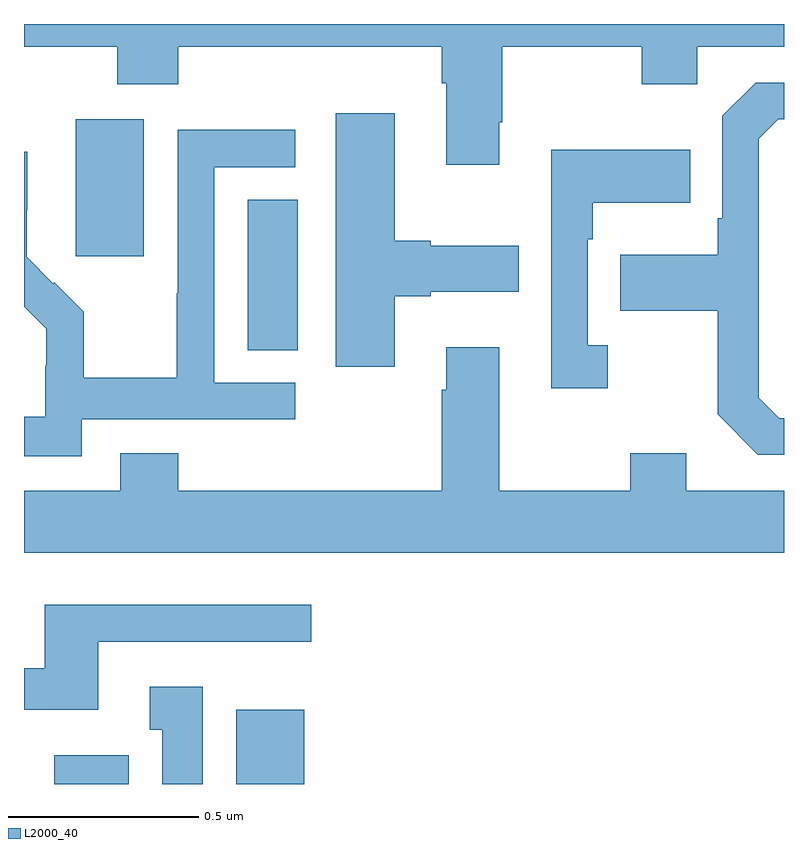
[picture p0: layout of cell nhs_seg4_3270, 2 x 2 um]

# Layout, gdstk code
import gdstk
lib = gdstk.Library(unit=1e-6, precision=1e-09)
def R(c, l, rs):  # rectangles x0, y0, x1, y1
    for r in rs: c.add(gdstk.rectangle(r[:2], r[2:], *l))
def P(c, l, *ps):  # polygons
    for p in ps: c.add(gdstk.Polygon(p, *l))
L2000_40 = (2000, 40)

nhs_seg4_3270 = lib.new_cell('nhs_seg4_3270')
R(nhs_seg4_3270, L2000_40, [(151.079,774.9,151.276,774.976), (151.559,774.9,151.738,775.096), (151.589,776.041,151.72,776.438), (151.136,776.289,151.315,776.65)])
P(nhs_seg4_3270, L2000_40, [(152.251,776.641),(152.259,776.641),(152.259,776.84),(152.626,776.84),(152.626,776.741),(152.772,776.741),(152.772,776.84),(153,776.84),(153,776.9),(151,776.9),(151,776.84),(151.246,776.84),(151.246,776.741),(151.406,776.741),(151.406,776.84),(152.099,776.84),(152.099,776.744),(152.111,776.744),(152.111,776.529),(152.251,776.529)],
  [(153,775.863),(152.988,775.863),(152.934,775.917),(152.934,776.598),(152.985,776.649),(153,776.649),(153,776.745),(152.925,776.745),(152.838,776.658),(152.838,776.389),(152.826,776.389),(152.826,776.293),(152.569,776.293),(152.569,776.146),(152.826,776.146),(152.826,775.873),(152.931,775.767),(153,775.767)],
  [(151.975,776.183),(152.071,776.183),(152.071,776.195),(152.302,776.195),(152.302,776.317),(152.071,776.317),(152.071,776.33),(151.975,776.33),(151.975,776.665),(151.82,776.665),(151.82,775.998),(151.975,775.998)],
  [(151.152,775.86),(151.714,775.86),(151.714,775.956),(151.5,775.956),(151.5,776.523),(151.714,776.523),(151.714,776.622),(151.404,776.622),(151.404,776.192),(151.402,776.192),(151.402,775.969),(151.157,775.969),(151.157,776.143),(151.08,776.22),(151.077,776.217),(151.007,776.288),(151.007,776.41),(151.008,776.41),(151.008,776.564),(151,776.564),(151,776.156),(151.058,776.098),(151.058,776.001),(151.056,776.001),(151.056,775.867),(151,775.867),(151,775.763),(151.152,775.763)],
  [(152.536,776.054),(152.484,776.054),(152.484,776.333),(152.497,776.333),(152.497,776.429),(152.753,776.429),(152.753,776.569),(152.388,776.569),(152.388,775.941),(152.536,775.941)],
  [(153,775.672),(152.743,775.672),(152.743,775.771),(152.596,775.771),(152.596,775.672),(152.251,775.672),(152.251,776.05),(152.111,776.05),(152.111,775.937),(152.099,775.937),(152.099,775.672),(151.406,775.672),(151.406,775.771),(151.253,775.771),(151.253,775.672),(151,775.672),(151,775.508),(153,775.508)],
  [(151.195,775.275),(151.756,775.275),(151.756,775.372),(151.055,775.372),(151.055,775.204),(151,775.204),(151,775.095),(151.195,775.095)],
  [(151.471,775.156),(151.331,775.156),(151.331,775.043),(151.364,775.043),(151.364,774.9),(151.471,774.9)])

lib.write_gds('nhs_seg4_3270.gds')
